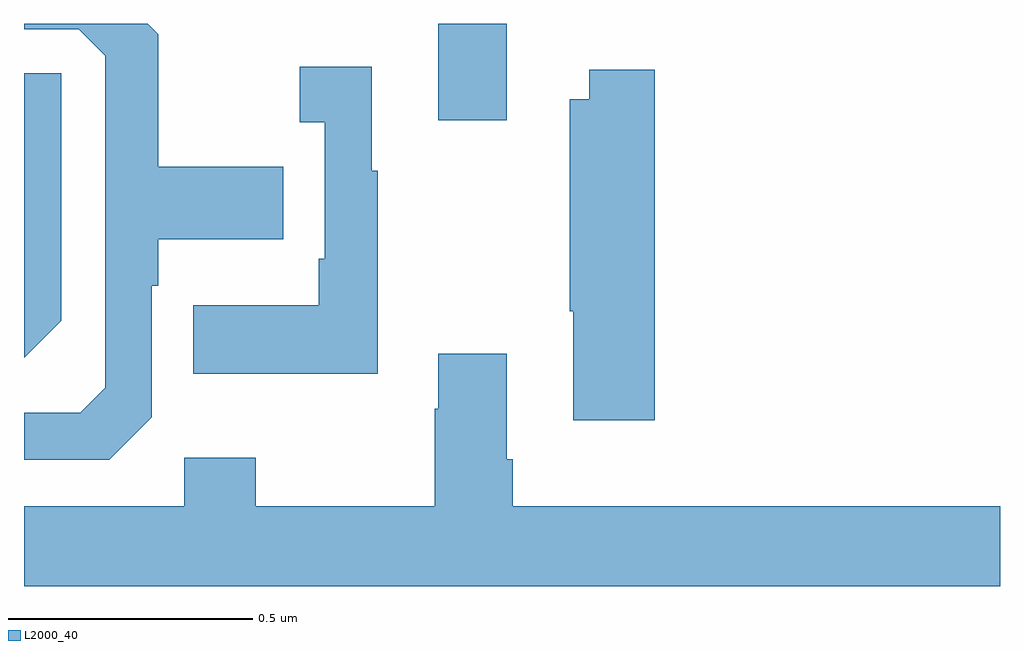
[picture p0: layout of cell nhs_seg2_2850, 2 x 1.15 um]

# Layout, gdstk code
import gdstk
lib = gdstk.Library(unit=1e-6, precision=1e-09)
def R(c, l, rs):  # rectangles x0, y0, x1, y1
    for r in rs: c.add(gdstk.rectangle(r[:2], r[2:], *l))
def P(c, l, *ps):  # polygons
    for p in ps: c.add(gdstk.Polygon(p, *l))
L2000_40 = (2000, 40)

nhs_seg2_2850 = lib.new_cell('nhs_seg2_2850')
R(nhs_seg2_2850, L2000_40, [(146.849,636.603,146.989,636.8)])
P(nhs_seg2_2850, L2000_40, [(146.262,635.994),(146.262,636.263),(146.275,636.263),(146.275,636.359),(146.531,636.359),(146.531,636.507),(146.275,636.507),(146.275,636.779),(146.254,636.8),(146,636.8),(146,636.789),(146.112,636.789),(146.166,636.735),(146.166,636.054),(146.115,636.003),(146,636.003),(146,635.907),(146.175,635.907)],
  [(146.725,636.499),(146.713,636.499),(146.713,636.712),(146.565,636.712),(146.565,636.599),(146.616,636.599),(146.616,636.319),(146.604,636.319),(146.604,636.223),(146.347,636.223),(146.347,636.083),(146.725,636.083)],
  [(147.293,636.706),(147.158,636.706),(147.158,636.646),(147.118,636.646),(147.118,636.211),(147.125,636.211),(147.125,635.988),(147.293,635.988)],
  [(146.076,636.192),(146.076,636.699),(146,636.699),(146,636.116)],
  [(148,635.812),(147.002,635.812),(147.002,635.908),(146.989,635.908),(146.989,636.124),(146.849,636.124),(146.849,636.011),(146.842,636.011),(146.842,635.812),(146.475,635.812),(146.475,635.911),(146.328,635.911),(146.328,635.812),(146,635.812),(146,635.648),(148,635.648)])

lib.write_gds('nhs_seg2_2850.gds')
